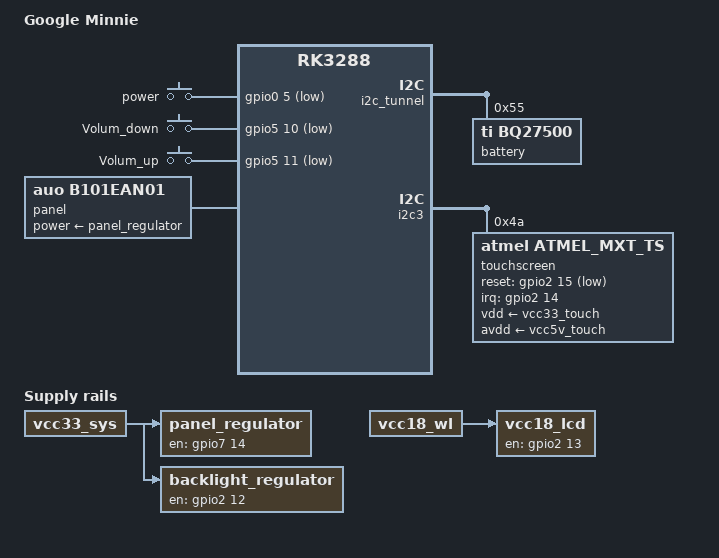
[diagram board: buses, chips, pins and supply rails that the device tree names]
/*
 * Google Veyron Minnie Rev 0+ board device tree source
 *
 * Copyright 2015 Google, Inc
 *
 * This program is free software; you can redistribute it and/or modify
 * it under the terms of the GNU General Public License version 2 as
 * published by the Free Software Foundation.
 */

/dts-v1/;
#include "rk3288-veyron-chromebook.dtsi"

/ {
	model = "Google Minnie";
	compatible = "google,veyron-minnie-rev4", "google,veyron-minnie-rev3",
		     "google,veyron-minnie-rev2", "google,veyron-minnie-rev1",
		     "google,veyron-minnie-rev0", "google,veyron-minnie",
		     "google,veyron", "rockchip,rk3288";

	panel_regulator: panel-regualtor {
		compatible = "regulator-fixed";
		enable-active-high;
		gpio = <&gpio7 14 GPIO_ACTIVE_HIGH>;
		pinctrl-names = "default";
		pinctrl-0 = <&lcd_enable_h>;
		regulator-name = "panel_regulator";
		vin-supply = <&vcc33_sys>;
	};

	vcc18_lcd: vcc18-lcd {
		compatible = "regulator-fixed";
		enable-active-high;
		gpio = <&gpio2 13 GPIO_ACTIVE_HIGH>;
		pinctrl-names = "default";
		pinctrl-0 = <&avdd_1v8_disp_en>;
		regulator-name = "vcc18_lcd";
		regulator-always-on;
		regulator-boot-on;
		vin-supply = <&vcc18_wl>;
	};

	backlight_regulator: backlight-regulator {
		compatible = "regulator-fixed";
		enable-active-high;
		gpio = <&gpio2 12 GPIO_ACTIVE_HIGH>;
		pinctrl-names = "default";
		pinctrl-0 = <&bl_pwr_en>;
		regulator-name = "backlight_regulator";
		vin-supply = <&vcc33_sys>;
		startup-delay-us = <15000>;
	};
};

&gpio_keys {
	pinctrl-0 = <&pwr_key_h &ap_lid_int_l &volum_down_l &volum_up_l>;

	power {
		gpios = <&gpio0 5 GPIO_ACTIVE_LOW>;
	};

	volum_down {
		label = "Volum_down";
		gpios = <&gpio5 10 GPIO_ACTIVE_LOW>;
		linux,code = <KEY_VOLUMEDOWN>;
		debounce-interval = <100>;
	};

	volum_up {
		label = "Volum_up";
		gpios = <&gpio5 11 GPIO_ACTIVE_LOW>;
		linux,code = <KEY_VOLUMEUP>;
		debounce-interval = <100>;
	};
};

&i2c_tunnel {
	battery: bq27500@55 {
		compatible = "ti,bq27500";
		reg = <0x55>;
	};
};

&i2c3 {
	touchscreen {
		compatible = "atmel,atmel_mxt_ts";
		reg = <0x4a>;
		interrupt-parent = <&gpio2>;
		interrupts = <14 IRQ_TYPE_EDGE_FALLING>;
		pinctrl-names = "default";
		pinctrl-0 = <&touch_int &touch_rst>;
		atmel,reset-gpios = <&gpio2 15 GPIO_ACTIVE_LOW>;
		vdd-supply = <&vcc33_touch>;
		avdd-supply = <&vcc5v_touch>;
	};
};

&backlight {
	power-supply = <&backlight_regulator>;
};

&panel {
	compatible = "auo,b101ean01", "simple-panel";
	power-supply= <&panel_regulator>;
};

&rk808 {
	pinctrl-names = "default";
	pinctrl-0 = <&pmic_int_l &dvs_1 &dvs_2>;
	dvs-gpios = <&gpio7 12 GPIO_ACTIVE_HIGH>,
		    <&gpio7 15 GPIO_ACTIVE_HIGH>;

	regulators {
		vcc33_touch: LDO_REG2 {
			regulator-min-microvolt = <3300000>;
			regulator-max-microvolt = <3300000>;
			regulator-name = "vcc33_touch";
			regulator-suspend-mem-microvolt = <3300000>;
		};

		vcc5v_touch: SWITCH_REG2 {
			regulator-name = "vcc5v_touch";
		};
	};
};

&dmc {
	operating-points = <
		/* KHz    uV */
		200000 1050000
		333000 1100000
		533000 1150000
	>;
};

&sdmmc {
	pinctrl-names = "default";
	pinctrl-0 = <&sdmmc_clk &sdmmc_cmd &sdmmc_cd_disabled &sdmmc_cd_gpio
			&sdmmc_bus4>;
	disable-wp;
};

&vcc_5v {
	enable-active-high;
	gpio = <&gpio7 21 GPIO_ACTIVE_HIGH>;
	pinctrl-names = "default";
	pinctrl-0 = <&drv_5v>;
};

&vcc50_hdmi {
	enable-active-high;
	gpio = <&gpio5 19 GPIO_ACTIVE_HIGH>;
	pinctrl-names = "default";
	pinctrl-0 = <&vcc50_hdmi_en>;
};

&edp {
	pinctrl-names = "default";
	pinctrl-0 = <&edp_hpd>;
};

&pinctrl {
	backlight {
		bl_pwr_en: bl_pwr_en {
			rockchip,pins = <2 12 RK_FUNC_GPIO &pcfg_pull_none>;
		};
	};

	buck-5v {
		drv_5v: drv-5v {
			rockchip,pins = <7 21 RK_FUNC_GPIO &pcfg_pull_none>;
		};
	};

	buttons {
		volum_down_l: volum-down-l {
			rockchip,pins = <5 10 RK_FUNC_GPIO &pcfg_pull_up>;
		};

		volum_up_l: volum-up-l {
			rockchip,pins = <5 11 RK_FUNC_GPIO &pcfg_pull_up>;
		};
	};

	edp {
		edp_hpd: edp_hpd {
			rockchip,pins = <7 11 RK_FUNC_2 &pcfg_pull_down>;
		};
	};

	emmc {
		/* Make sure eMMC is not in reset */
		emmc_deassert_reset: emmc-deassert-reset {
			rockchip,pins = <2 9 RK_FUNC_GPIO &pcfg_pull_none>;
		};
	};

	hdmi {
		vcc50_hdmi_en: vcc50-hdmi-en {
			rockchip,pins = <5 19 RK_FUNC_GPIO &pcfg_pull_none>;
		};
	};

	lcd {
		lcd_enable_h: lcd-en {
			rockchip,pins = <7 14 RK_FUNC_GPIO &pcfg_pull_none>;
		};

		avdd_1v8_disp_en: avdd-1v8-disp-en {
			rockchip,pins = <2 13 RK_FUNC_GPIO &pcfg_pull_none>;
		};
	};

	pmic {
		dvs_1: dvs-1 {
			rockchip,pins = <7 12 RK_FUNC_GPIO &pcfg_pull_down>;
		};

		dvs_2: dvs-2 {
			rockchip,pins = <7 15 RK_FUNC_GPIO &pcfg_pull_down>;
		};
	};

	touchscreen {
		touch_int: touch-int {
			rockchip,pins = <2 14 RK_FUNC_GPIO &pcfg_pull_none>;
		};

		touch_rst: touch-rst {
			rockchip,pins = <2 15 RK_FUNC_GPIO &pcfg_pull_none>;
		};
	};
};
